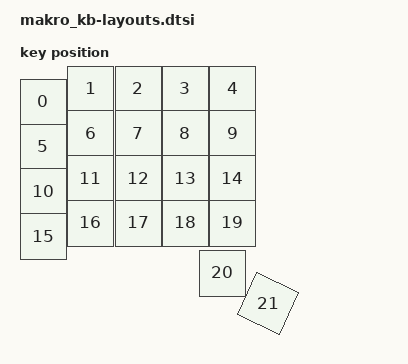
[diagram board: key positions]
// See https://zmk.dev/docs/development/hardware-integration/physical-layouts
// for how to configure this.

#include <physical_layouts.dtsi>

/ {
    default_layout: default_layout {
        compatible = "zmk,physical-layout";
        display-name = "Default Layout";
        transform = <&default_transform>;
        kscan = <&kscan>;

        // Edit this to define the positions and sizes of the keys, or remove it
        // if your keyboard will not support ZMK Studio.
        // https://zmk.dev/docs/development/hardware-integration/physical-layouts#optional-keys-property
        keys  //                     w   h    x    y     rot    rx    ry
            = <&key_physical_attrs 100 100    0   26       0     0     0>
            , <&key_physical_attrs 100 100   95    0       0     0     0>
            , <&key_physical_attrs 100 100  190    0       0     0     0>
            , <&key_physical_attrs 100 100  284    0       0     0     0>
            , <&key_physical_attrs 100 100  379    0       0     0     0>

            , <&key_physical_attrs 100 100    0  116       0     0     0>
            , <&key_physical_attrs 100 100   95   89       0     0     0>
            , <&key_physical_attrs 100 100  190   89       0     0     0>
            , <&key_physical_attrs 100 100  284   89       0     0     0>
            , <&key_physical_attrs 100 100  379   89       0     0     0>

            , <&key_physical_attrs 100 100    0  205       0     0     0>
            , <&key_physical_attrs 100 100   95  179       0     0     0>
            , <&key_physical_attrs 100 100  190  179       0     0     0>
            , <&key_physical_attrs 100 100  284  179       0     0     0>
            , <&key_physical_attrs 100 100  379  179       0     0     0>

            , <&key_physical_attrs 100 100    0  295       0     0     0>
            , <&key_physical_attrs 100 100   95  268       0     0     0>
            , <&key_physical_attrs 100 100  190  268       0     0     0>
            , <&key_physical_attrs 100 100  284  268       0     0     0>
            , <&key_physical_attrs 100 100  379  268       0     0     0>

            , <&key_physical_attrs 100 100  358  368       0     0     0>
            , <&key_physical_attrs 100 100  450  429    2500   500   479>
            ;
    };    
};
